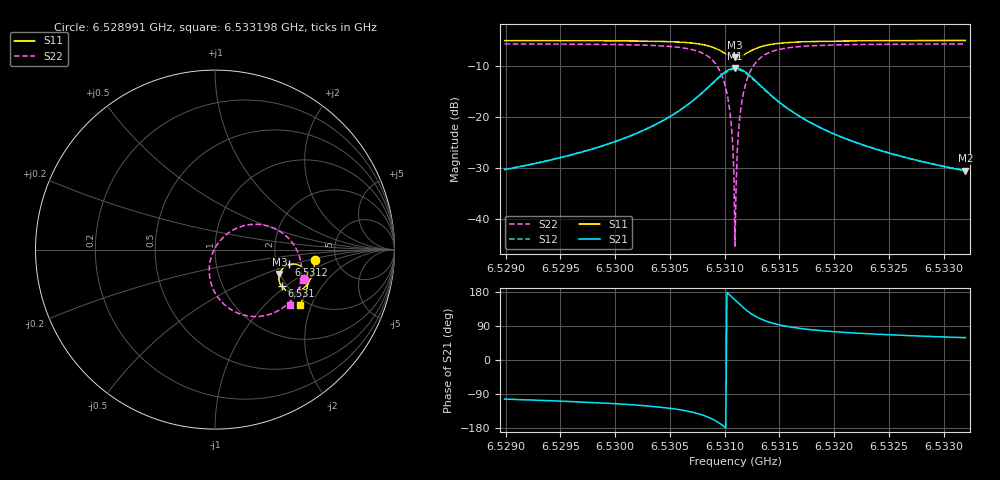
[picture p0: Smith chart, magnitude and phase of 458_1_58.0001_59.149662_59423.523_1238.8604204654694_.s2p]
#  HZ  S  RI  R  50.00
! Rohde & Schwarz Vector Network Analyzer
! Rohde-Schwarz,ZNB20-2Port,1311601062101988,3.16
! Created: UTC 3/21/2024, 1:10:50 AM
! freq[Hz]  re:S11  im:S11  re:S21  im:S21  re:S12  im:S12  re:S22  im:S22
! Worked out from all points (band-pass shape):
!   401 points, 6.528991 GHz to 6.533198 GHz, reference 50 ohm
!   highest |S21| = -10.40 dB at 6.531094 GHz (marker M1); lowest = -30.5 dB at 6.533198 GHz (marker M2)
!   |S21| within 3 dB of the highest: 6.530886 GHz to 6.531306 GHz (420.6 kHz wide, 0.00644 % of centre)
!   lowest |S11| = -8.3 dB at 6.531094 GHz (marker M3), VSWR 2.25, Z = 99.4 - j31.7 ohm
!   |S11| at or under -10 dB: nowhere
!   |S22| runs from -45.3 to -5.7 dB; largest |S21 - S12| = 0.011
!   S11 on the Smith chart (normalised r, x): 6.528991 GHz: 3.44, -0.60; 6.531 GHz: 1.88, -0.93; 6.5312 GHz: 2.34, -0.47; 6.533198 GHz: 1.82, -1.65
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6.5289911e9  0.5578 -0.0596  -0.00689 -0.0299  -0.00763 -0.0297  0.4944 -0.1632
6.5296957e9  0.5474 -0.1179  -0.0162 -0.0424  -0.0171 -0.0422  0.4642 -0.2283
6.5304003e9  0.5191 -0.187  -0.0494 -0.0728  -0.0514 -0.0716  0.3841 -0.3199
6.530821e9  0.4492 -0.236  -0.1552 -0.0984  -0.1577 -0.0923  0.1802 -0.3693
6.5309262e9  0.4052 -0.2309  -0.2236 -0.0727  -0.2231 -0.0636  0.0634 -0.316
6.5309998e9  0.371 -0.2042  -0.2743 -0.0154  -0.2688 -0.00581  -0.0138 -0.2115
6.5310313e9  0.3606 -0.1844  -0.2879 0.0225  -0.2801 0.0307  -0.0305 -0.146
6.5310524e9  0.3569 -0.169  -0.2914 0.0512  -0.2823 0.0582  -0.0315 -0.098
6.5310629e9  0.3561 -0.1607  -0.2909 0.0661  -0.2814 0.0724  -0.0287 -0.0733
6.5310734e9  0.3562 -0.1524  -0.2891 0.0811  -0.2792 0.0866  -0.0233 -0.0487
6.5310839e9  0.3574 -0.144  -0.2858 0.0962  -0.2756 0.1007  -0.0156 -0.0247
6.5310944e9  0.3592 -0.1358  -0.2809 0.1109  -0.2706 0.1144  -0.0053 -0.00125
6.5311049e9  0.3622 -0.128  -0.275 0.1249  -0.2644 0.1275  0.00717 0.021
6.5311155e9  0.3659 -0.1204  -0.2674 0.1383  -0.257 0.14  0.0217 0.0418
6.531126e9  0.3703 -0.1133  -0.2586 0.151  -0.2483 0.1514  0.0382 0.0609
6.531147e9  0.3809 -0.101  -0.2378 0.1725  -0.2286 0.1716  0.0753 0.0933
6.5311996e9  0.4137 -0.083  -0.1784 0.2043  -0.1719 0.2015  0.1788 0.137
6.5312732e9  0.4562 -0.0832  -0.1039 0.2069  -0.1006 0.2037  0.3047 0.1285
6.5313784e9  0.4927 -0.1057  -0.0395 0.1762  -0.0382 0.1746  0.4096 0.0627
6.531799e9  0.5179 -0.1853  0.0154 0.0851  0.0165 0.0847  0.4832 -0.1281
6.5325037e9  0.4982 -0.2566  0.0176 0.0407  0.0183 0.0405  0.4553 -0.2452
6.5331978e9  0.4712 -0.3082  0.0153 0.0257  0.0159 0.0254  0.4206 -0.3064
